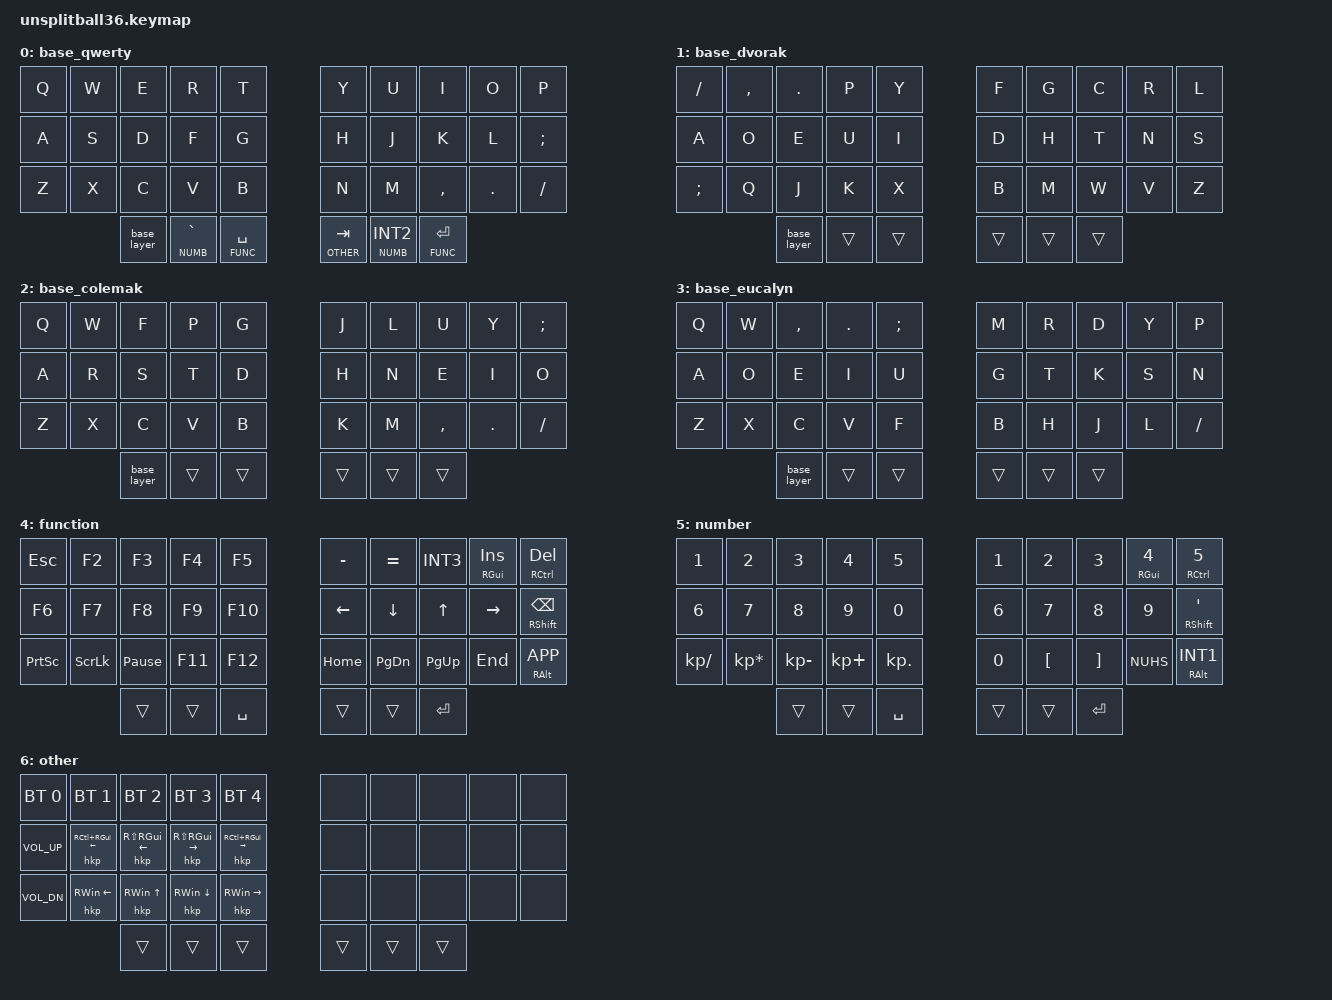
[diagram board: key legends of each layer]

#include <behaviors.dtsi>
#include <dt-bindings/zmk/bt.h>
#include <dt-bindings/zmk/keys.h>
#include <dt-bindings/zmk/outputs.h>
#include <dt-bindings/zmk/pointing.h>
#include <input/processors/sensor_rotation.dtsi>

#define QWERTY	0
#define DVORAK	1
#define COLEMAK	2
#define EUCALYN	3
#define FUNC	4
#define NUMB	5
#define OTHER	6

#define NONE &none &none &none &none &none &none &none &none &none &none &none &none &none &none &none &none &none &none \
             &none &none &none &none &none &none &none &none &none &none &none &none &none &none &none &none &none &none

#define COMBO(NAME, TM, KP, B) NAME { slow-release; timeout-ms = <TM>; key-positions = KP; bindings = B; }

&lt { flavor = "hold-preferred"; };
&mt { flavor = "hold-preferred"; quick-tap-ms = <300>; };
&sensor_rotation { rotation-angle = <25>; };

/ {
	behaviors {
		
		mkp_2mb1: mkp_2mb1 {
			compatible = "zmk,behavior-macro";
			#binding-cells = <0>;
			bindings = <&macro_tap &mkp MB1 &mkp MB1>;
		};
		
		mkp_3mb1: mkp_3mb1 {
			compatible = "zmk,behavior-macro";
			#binding-cells = <0>;
			bindings = <&macro_tap &mkp MB1 &mkp MB1 &mkp MB1>;
		};
		
		hkp: hkp {
			compatible = "zmk,behavior-macro-two-param";
			#binding-cells = <2>;
			bindings
					= <&macro_param_1to1>, <&macro_press &kp MACRO_PLACEHOLDER>
					, <&macro_param_2to1>, <&macro_press &kp MACRO_PLACEHOLDER>
					, <&macro_pause_for_release>
					, <&macro_param_2to1>, <&macro_release &kp MACRO_PLACEHOLDER>
					, <&macro_param_1to1>, <&macro_release &kp MACRO_PLACEHOLDER>
			;
		};
		
		home: home {
			compatible = "zmk,behavior-macro";
			#binding-cells = <0>;
			bindings = <&macro_tap &kp A &kp S &kp D &kp F &kp SEMI &kp L &kp K &kp J>;
		};
		
		base_layer: base_layer {
			compatible = "zmk,behavior-tap-dance";
			#binding-cells = <0>;
			tapping-term-ms = <1000>;
			bindings = <&to QWERTY>, <&to DVORAK>, <&to COLEMAK>, <&to EUCALYN>;
		};
	};
	
	keymap {
		
		compatible = "zmk,keymap";
		base_qwerty {
			bindings = <
				&kp Q	&kp W		&kp E			&kp R			&kp T			&kp Y			&kp U	&kp I		&kp O		&kp P
				&kp A	&kp S		&kp D			&kp F			&kp G			&kp H			&kp J	&kp K		&kp L		&kp SEMI
				&kp Z	&kp X		&kp C			&kp V			&kp B			&kp N			&kp M	&kp COMMA	&kp DOT		&kp SLASH
						&base_layer	&lt NUMB GRAVE	&lt FUNC SPACE	&lt OTHER TAB	&lt NUMB INT2	&lt FUNC ENTER
			>;
		};
		base_dvorak {
			bindings = <
				&kp SLASH	&kp COMMA		&kp DOT		&kp P	&kp Y	&kp F	&kp G	&kp C	&kp R	&kp L
				&kp A		&kp O			&kp E		&kp U	&kp I	&kp D	&kp H	&kp T	&kp N	&kp S
				&kp SEMI	&kp Q			&kp J		&kp K	&kp X	&kp B	&kp M	&kp W	&kp V	&kp Z
							&base_layer		&trans		&trans	&trans	&trans	&trans
			>;
		};
		base_colemak {
			bindings = <
				&kp Q	&kp W		&kp F	&kp P	&kp G	&kp J	&kp L	&kp U		&kp Y	&kp SEMI
				&kp A	&kp R		&kp S	&kp T	&kp D	&kp H	&kp N	&kp E		&kp I	&kp O
				&kp Z	&kp X		&kp C	&kp V	&kp B	&kp K	&kp M	&kp COMMA	&kp DOT	&kp SLASH
						&base_layer	&trans	&trans	&trans	&trans	&trans
			>;
		};
		base_eucalyn {
			bindings = <
				&kp Q	&kp W		&kp COMMA	&kp DOT		&kp SEMI	&kp M	&kp R	&kp D	&kp Y	&kp P
				&kp A	&kp O		&kp E		&kp I		&kp U		&kp G	&kp T	&kp K	&kp S	&kp N
				&kp Z	&kp X		&kp C		&kp V		&kp F		&kp B	&kp H	&kp J	&kp L	&kp SLASH
						&base_layer	&trans		&trans		&trans		&trans	&trans
			>;
		};
		function {
			bindings = <
				&kp ESC		&kp F2		&kp F3			&kp F4		&kp F5		&kp MINUS	&kp EQUAL	&kp INT3	&mt RGUI INS	&mt RCTRL DEL
				&kp F6		&kp F7		&kp F8			&kp F9		&kp F10		&kp LEFT	&kp DOWN	&kp UP		&kp RIGHT		&mt RSHFT BSPC
				&kp PSCRN	&kp SLCK	&kp PAUSE_BREAK	&kp F11		&kp F12		&kp HOME	&kp PG_DN	&kp PG_UP	&kp END			&mt RALT K_APP
							&trans		&trans			&kp SPACE	&trans		&trans		&kp ENTER
			>;
		};
		number {
			bindings = <
				&kp N1			&kp N2				&kp N3			&kp N4			&kp N5			&kp N1		&kp N2		&kp N3		&mt RGUI N4		&mt RCTRL N5
				&kp N6			&kp N7				&kp N8			&kp N9			&kp N0			&kp N6		&kp N7		&kp N8		&kp N9			&mt RSHFT SQT
				&kp KP_SLASH	&kp KP_ASTERISK		&kp KP_MINUS	&kp KP_PLUS		&kp KP_DOT		&kp N0		&kp LBKT	&kp RBKT	&kp NUHS		&mt RALT INT1
								&trans				&trans			&kp SPACE		&trans			&trans		&kp ENTER
			>;
		};
		other {
			bindings = <
				&bt BT_SEL 0	&bt BT_SEL 1		&bt BT_SEL 2		&bt BT_SEL 3		&bt BT_SEL 4		&none	&none	&none	&none	&none
				&kp C_VOL_UP 	&hkp RC(RGUI) LEFT	&hkp RS(RGUI) LEFT	&hkp RS(RGUI) RIGHT	&hkp RC(RGUI) RIGHT	&none	&none	&none	&none	&none
				&kp C_VOL_DN	&hkp RWIN LEFT		&hkp RWIN UP		&hkp RWIN DOWN		&hkp RWIN RIGHT		&none	&none	&none	&none	&none
								&trans				&trans				&trans				&trans				&trans	&trans
			>;
		};
	};
	
	combos {
		
		compatible = "zmk,combos";
		
		COMBO(single_mb1, 35, <16 17>, <&mkp MB1>);				COMBO(single_mb2, 35, <17 18>, <&mkp MB2>);
		COMBO(single_mb4, 35, <26 27>, <&mkp MB4>);				COMBO(single_mb5, 35, <27 28>, <&mkp MB5>);
		COMBO(double_mb1, 35, <16 17 18>, <&mkp_2mb1>);			COMBO(triple_mb1, 35, <26 27 28>, <&mkp_3mb1>);
		COMBO(single_mb3, 35, <16 18>, <&mkp MB3>);				COMBO(mute, 35, <10 20>, <&kp C_MUTE>);

		COMBO(hrm_lctl, 35, <32 11>, <&kp LCTRL>);				COMBO(hrm_lsht, 35, <11 12>, <&kp LSHFT>);
		COMBO(hrm_lalt, 35, <12 13>, <&kp LALT>);				COMBO(hrm_lgui, 35, <12 14>, <&kp LGUI>);
		COMBO(hrm_lctl_lsht, 35, <32 11 12>, <&kp LC(LSHFT)>);	COMBO(hrm_lsht_lalt, 35, <11 12 13>, <&kp LS(LALT)>);
		COMBO(hrm_lalt_lgui, 35, <13 14>, <&kp LA(LGUI)>);		COMBO(hrm_lsht_lgui, 35, <11 14>, <&kp LS(LGUI)>);
		COMBO(hrm_lctl_lgui, 35, <10 14>, <&kp LC(LGUI)>);		COMBO(hrm_lctl_lalt, 35, <10 13>, <&kp LC(LALT)>);

		COMBO(bt_clr, 35, <9 19 29>, <&bt BT_CLR>);					COMBO(out_tog, 35, <0 1>, <&out OUT_TOG>);
		COMBO(bootloader, 35, <0 10 20>, <&bootloader>);		COMBO(hrm_lmeh, 35, <10 11 12 13>, <&kp LC(LS(LALT))>);

		COMBO(home, 35, <13 16>, <&home>);
	};
};

/ {
	
	input-processors {
		
		zip_scroll_x_scaler: zip_scroll_x_scaler {
			
			compatible = "zmk,input-processor-scaler";
			#input-processor-cells = <2>;
			type = <INPUT_EV_REL>;
			codes = <INPUT_REL_HWHEEL>;
			track-remainders;
		};
		
		zip_scroll_y_scaler: zip_scroll_y_scaler {
			
			compatible = "zmk,input-processor-scaler";
			#input-processor-cells = <2>;
			type = <INPUT_EV_REL>;
			codes = <INPUT_REL_WHEEL>;
			track-remainders;
		};
	};
	
	trackball_listener: trackball_listener {
		
		input-processors
			= <&sensor_rotation>
			, <&zip_x_scaler 3 5>
			, <&zip_y_scaler 4 5>
			, <&zip_xy_transform (INPUT_TRANSFORM_X_INVERT | INPUT_TRANSFORM_Y_INVERT)>
		;
		
		vertical_scroller {
			
			layers = <FUNC>;
			process-next;
			input-processors
				= <&zip_xy_to_scroll_mapper>
				, <&zip_scroll_x_scaler 0 32>
				, <&zip_scroll_y_scaler 1 32>
				, <&zip_scroll_transform (INPUT_TRANSFORM_X_INVERT)>
			;
		};
		
		horizontal_scroller {
			
			layers = <NUMB>;
			process-next;
			input-processors
				= <&zip_xy_to_scroll_mapper>
				, <&zip_scroll_y_scaler 0 32>
				, <&zip_scroll_x_scaler 1 32>
				, <&zip_scroll_transform (INPUT_TRANSFORM_X_INVERT)>
			;
		};
	};
};
